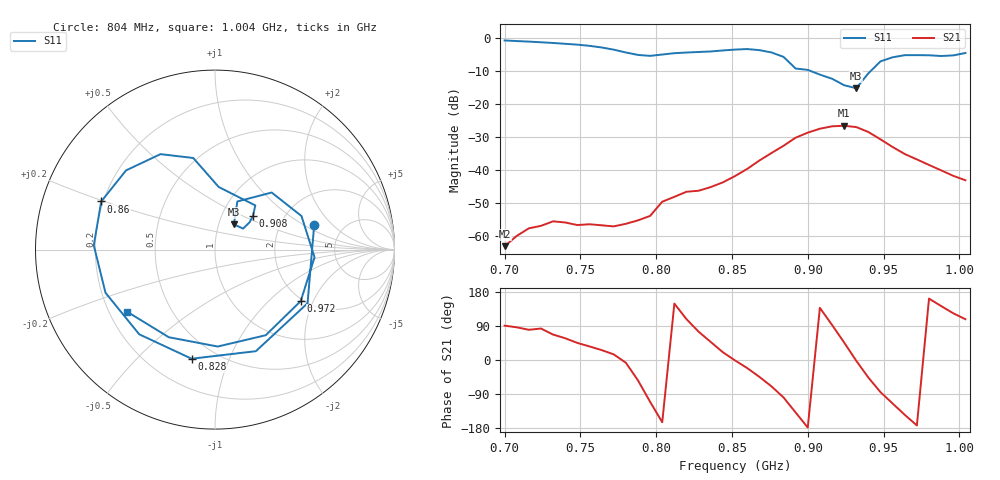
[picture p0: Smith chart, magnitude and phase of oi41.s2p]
# Hz S RI R 50
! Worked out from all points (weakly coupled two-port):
!   39 points, 700 MHz to 1.004 GHz, reference 50 ohm
!   highest |S21| = -26.46 dB at 924 MHz (marker M1); lowest = -62.9 dB at 700 MHz (marker M2)
!   lowest |S11| = -15.1 dB at 932 MHz (marker M3), VSWR 1.43, Z = 59 + j17.1 ohm
!   |S11| at or under -10 dB: 902.5 MHz to 941.3 MHz (38.77 MHz wide, 4.21 % of centre)
!   S12 and S22 are empty: the file has one direction only
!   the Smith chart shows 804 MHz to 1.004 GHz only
!   S11 on the Smith chart (normalised r, x): 804 MHz: 3.09, +1.25; 828 MHz: 0.37, -0.74; 860 MHz: 0.19, +0.20; 908 MHz: 1.40, +0.57; 972 MHz: 1.94, -1.62; 1.004 GHz: 0.27, -0.29
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7e8  0.7628 0.5308  -8.69e-06 0.000713  0 0  0 0
7.24e8  0.8334 -0.2579  0.000175 0.00144  0 0  0 0
7.4e8  0.444 -0.6975  0.000878 0.00137  0 0  0 0
7.56e8  -0.1924 -0.7458  0.00124 0.000896  0 0  0 0
7.72e8  -0.6466 -0.1917  0.00137 0.000362  0 0  0 0
7.8e8  -0.5675 0.2262  0.00154 -0.000194  0 0  0 0
7.88e8  -0.2168 0.5172  0.00103 -0.00142  0 0  0 0
7.96e8  0.2509 0.482  -0.000716 -0.00192  0 0  0 0
8.04e8  0.5525 0.1363  -0.00323 -0.000915  0 0  0 0
8.2e8  0.2277 -0.566  -0.00145 0.00453  0 0  0 0
8.28e8  -0.1303 -0.608  0.0013 0.00475  0 0  0 0
8.52e8  -0.6754 0.0241  0.00821 -0.000154  0 0  0 0
8.6e8  -0.6339 0.2682  0.00982 -0.0038  0 0  0 0
8.76e8  -0.3035 0.5319  0.00647 -0.0171  0 0  0 0
9.08e8  0.2114 0.1872  -0.0316 0.0289  0 0  0 0
9.24e8  0.1561 0.1169  0.0329 0.0343  0 0  0 0
9.32e8  0.1049 0.1408  0.0453 -0.00164  0 0  0 0
9.48e8  0.3158 0.318  0.00265 -0.0294  0 0  0 0
9.56e8  0.4819 0.187  -0.00952 -0.0205  0 0  0 0
9.72e8  0.4777 -0.2869  -0.0146 -0.00186  0 0  0 0
9.88e8  0.0152 -0.5401  -0.00794 0.00612  0 0  0 0
1.004e9  -0.4913 -0.3449  -0.00216 0.00677  0 0  0 0
